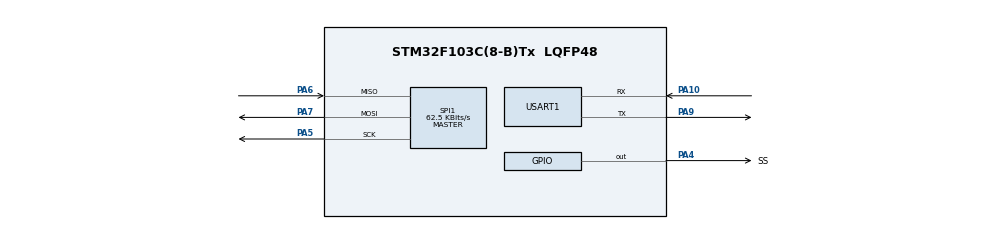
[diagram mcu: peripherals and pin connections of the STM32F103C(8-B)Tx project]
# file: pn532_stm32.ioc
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Mcu.Family=STM32F1
Mcu.Name=STM32F103C(8-B)Tx
Mcu.Package=LQFP48
NVIC.PriorityGroup=NVIC_PRIORITYGROUP_4
PA10.Mode=Asynchronous
PA10.Signal=USART1_RX
PA4.GPIO_Label=SS
PA4.GPIO_PuPd=GPIO_PULLUP
PA4.Signal=GPIO_Output
PA5.Mode=Full_Duplex_Master
PA5.Signal=SPI1_SCK
PA6.Mode=Full_Duplex_Master
PA6.Signal=SPI1_MISO
PA7.Mode=Full_Duplex_Master
PA7.Signal=SPI1_MOSI
PA9.Mode=Asynchronous
PA9.Signal=USART1_TX
ProjectManager.HeapSize=0x200
ProjectManager.StackSize=0x400
ProjectManager.TargetToolchain=MDK-ARM V5
RCC.APB1Freq_Value=8000000
RCC.APB2Freq_Value=8000000
SPI1.BaudRatePrescaler=SPI_BAUDRATEPRESCALER_128
SPI1.CalculateBaudRate=62.5 KBits/s
SPI1.Direction=SPI_DIRECTION_2LINES
SPI1.FirstBit=SPI_FIRSTBIT_LSB
SPI1.Mode=SPI_MODE_MASTER
SPI1.VirtualType=VM_MASTER
USART1.VirtualMode=VM_ASYNC
VP_SYS_VS_ND.Mode=No_Debug
board=custom

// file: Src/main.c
/* USER CODE BEGIN Header */
/**
  ******************************************************************************
  * @file           : main.c
  * @brief          : Main program body
  ******************************************************************************
  * @attention
  *
  * <h2><center>&copy; Copyright (c) 2019 STMicroelectronics.
  * All rights reserved.</center></h2>
  *
  * This software component is licensed by ST under BSD 3-Clause license,
  * the "License"; You may not use this file except in compliance with the
  * License. You may obtain a copy of the License at:
  *                        opensource.org/licenses/BSD-3-Clause
  *
  ******************************************************************************
  */
/* USER CODE END Header */

#include "main.h"

/* USER CODE BEGIN Includes */
#include "pn532_stm32f1.h"
/* USER CODE END Includes */

SPI_HandleTypeDef hspi1;

UART_HandleTypeDef huart1;

/* USER CODE BEGIN PV */
PN532 pn532;
/* USER CODE END PV */

void SystemClock_Config(void);
static void MX_GPIO_Init(void);
static void MX_SPI1_Init(void);
static void MX_USART1_UART_Init(void);

int main(void)
{
  /* USER CODE BEGIN 1 */
  uint8_t buff[255];
  uint8_t uid[MIFARE_UID_MAX_LENGTH];
  uint32_t pn532_error = PN532_ERROR_NONE;
  int32_t uid_len = 0;
  /* USER CODE END 1 */

  /* MCU Configuration--------------------------------------------------------*/

  /* Reset of all peripherals, Initializes the Flash interface and the Systick. */
  HAL_Init();

  /* Configure the system clock */
  SystemClock_Config();

  /* Initialize all configured peripherals */
  MX_GPIO_Init();
  MX_SPI1_Init();
  MX_USART1_UART_Init();
  /* USER CODE BEGIN 2 */
  printf("Hello!\r\n");
  PN532 pn532;
  PN532_Init(&pn532);
  PN532_GetFirmwareVersion(&pn532, buff);
  if (PN532_GetFirmwareVersion(&pn532, buff) == PN532_STATUS_OK) {
    printf("Found PN532 with firmware version: %d.%d\r\n", buff[1], buff[2]);
  }
  PN532_SamConfiguration(&pn532);
  printf("Waiting for RFID/NFC card...\r\n");
  /* USER CODE END 2 */

  /* Infinite loop */
  while (1)
  {

    /* USER CODE BEGIN 3 */
    // Check if a card is available to read
    uid_len = PN532_ReadPassiveTarget(&pn532, uid, PN532_MIFARE_ISO14443A, 1000);
    if (uid_len == PN532_STATUS_ERROR) {
      printf(".");
    } else {
      printf("Found card with UID: ");
      for (uint8_t i = 0; i < uid_len; i++) {
        printf("%02x ", uid[i]);
      }
      printf("\r\n");
      break;
    }
  }
  // Write block #6
  uint8_t block_number = 6;
  uint8_t DATA[] = {0x00, 0x01, 0x02, 0x03};
  pn532_error = PN532_Ntag2xxWriteBlock(&pn532, DATA, block_number);
  if (pn532_error) {
    printf("Error: 0x%02x\r\n", pn532_error);
    return -1;
  }
  pn532_error = PN532_Ntag2xxReadBlock(&pn532, buff, block_number);
  if (pn532_error) {
    printf("Error: 0x%02x\r\n", pn532_error);
    return -1;
  }
  for (uint8_t i = 0; i < sizeof(DATA); i++) {
    if (DATA[i] != buff[i]) {
      printf("Write block %d failed\r\n", block_number);
      return -1;
    }
  }
  printf("Write block %d successfully\r\n", block_number);
  /* USER CODE END 3 */
}

void SystemClock_Config(void)
{
  RCC_OscInitTypeDef RCC_OscInitStruct = {0};
  RCC_ClkInitTypeDef RCC_ClkInitStruct = {0};

  /** Initializes the CPU, AHB and APB busses clocks
  */
  RCC_OscInitStruct.OscillatorType = RCC_OSCILLATORTYPE_HSI;
  RCC_OscInitStruct.HSIState = RCC_HSI_ON;
  RCC_OscInitStruct.HSICalibrationValue = RCC_HSICALIBRATION_DEFAULT;
  RCC_OscInitStruct.PLL.PLLState = RCC_PLL_NONE;
  if (HAL_RCC_OscConfig(&RCC_OscInitStruct) != HAL_OK)
  {
    Error_Handler();
  }
  /** Initializes the CPU, AHB and APB busses clocks
  */
  RCC_ClkInitStruct.ClockType = RCC_CLOCKTYPE_HCLK|RCC_CLOCKTYPE_SYSCLK
                              |RCC_CLOCKTYPE_PCLK1|RCC_CLOCKTYPE_PCLK2;
  RCC_ClkInitStruct.SYSCLKSource = RCC_SYSCLKSOURCE_HSI;
  RCC_ClkInitStruct.AHBCLKDivider = RCC_SYSCLK_DIV1;
  RCC_ClkInitStruct.APB1CLKDivider = RCC_HCLK_DIV1;
  RCC_ClkInitStruct.APB2CLKDivider = RCC_HCLK_DIV1;

  if (HAL_RCC_ClockConfig(&RCC_ClkInitStruct, FLASH_LATENCY_0) != HAL_OK)
  {
    Error_Handler();
  }
}

static void MX_SPI1_Init(void)
{

  /* SPI1 parameter configuration*/
  hspi1.Instance = SPI1;
  hspi1.Init.Mode = SPI_MODE_MASTER;
  hspi1.Init.Direction = SPI_DIRECTION_2LINES;
  hspi1.Init.DataSize = SPI_DATASIZE_8BIT;
  hspi1.Init.CLKPolarity = SPI_POLARITY_LOW;
  hspi1.Init.CLKPhase = SPI_PHASE_1EDGE;
  hspi1.Init.NSS = SPI_NSS_SOFT;
  hspi1.Init.BaudRatePrescaler = SPI_BAUDRATEPRESCALER_128;
  hspi1.Init.FirstBit = SPI_FIRSTBIT_LSB;
  hspi1.Init.TIMode = SPI_TIMODE_DISABLE;
  hspi1.Init.CRCCalculation = SPI_CRCCALCULATION_DISABLE;
  hspi1.Init.CRCPolynomial = 10;
  if (HAL_SPI_Init(&hspi1) != HAL_OK)
  {
    Error_Handler();
  }

}

static void MX_USART1_UART_Init(void)
{

  huart1.Instance = USART1;
  huart1.Init.BaudRate = 115200;
  huart1.Init.WordLength = UART_WORDLENGTH_8B;
  huart1.Init.StopBits = UART_STOPBITS_1;
  huart1.Init.Parity = UART_PARITY_NONE;
  huart1.Init.Mode = UART_MODE_TX_RX;
  huart1.Init.HwFlowCtl = UART_HWCONTROL_NONE;
  huart1.Init.OverSampling = UART_OVERSAMPLING_16;
  if (HAL_UART_Init(&huart1) != HAL_OK)
  {
    Error_Handler();
  }

}

static void MX_GPIO_Init(void)
{
  GPIO_InitTypeDef GPIO_InitStruct = {0};

  /* GPIO Ports Clock Enable */
  __HAL_RCC_GPIOA_CLK_ENABLE();

  /*Configure GPIO pin Output Level */
  HAL_GPIO_WritePin(SS_GPIO_Port, SS_Pin, GPIO_PIN_RESET);

  /*Configure GPIO pin : SS_Pin */
  GPIO_InitStruct.Pin = SS_Pin;
  GPIO_InitStruct.Mode = GPIO_MODE_OUTPUT_PP;
  GPIO_InitStruct.Pull = GPIO_PULLUP;
  GPIO_InitStruct.Speed = GPIO_SPEED_FREQ_LOW;
  HAL_GPIO_Init(SS_GPIO_Port, &GPIO_InitStruct);

}

/* USER CODE BEGIN 4 */
#ifdef __GNUC__
  /* With GCC/RAISONANCE, small printf (option LD Linker->Libraries->Small printf
     set to 'Yes') calls __io_putchar() */
  #define PUTCHAR_PROTOTYPE int __io_putchar(int ch)
#else
  #define PUTCHAR_PROTOTYPE int fputc(int ch, FILE *f)
#endif /* __GNUC__ */
/**
  * @brief  Retargets the C library printf function to the USART.
  * @param  None
  * @retval None
  */
PUTCHAR_PROTOTYPE
{
  /* Place your implementation of fputc here */
  /* e.g. write a character to the EVAL_COM1 and Loop until the end of transmission */
  HAL_UART_Transmit(&huart1, (uint8_t *)&ch, 1, 0xFFFF);

  return ch;
}
/* USER CODE END 4 */

void Error_Handler(void)
{
}

/************************ (C) COPYRIGHT STMicroelectronics *****END OF FILE****/
